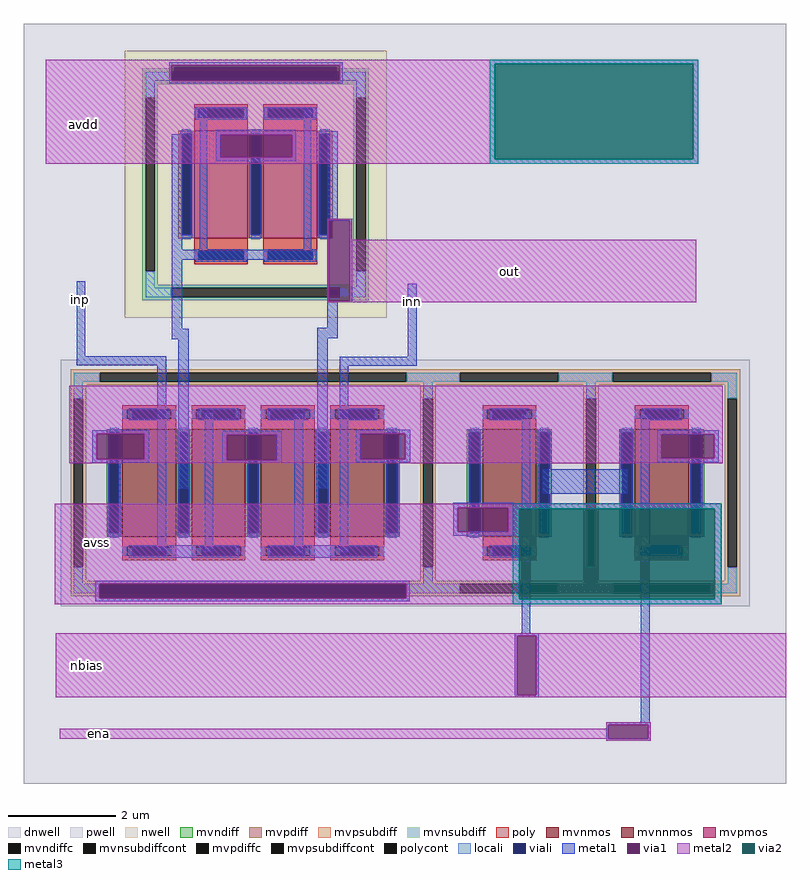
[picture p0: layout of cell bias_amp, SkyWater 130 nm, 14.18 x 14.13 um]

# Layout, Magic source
magic
tech sky130A
magscale 1 2
<< dnwell >>
rect 5361 2480 8196 5306
<< viali >>
rect 5921 5099 6523 5143
rect 5641 3169 6784 3223
<< metal1 >>
rect 5901 5150 6547 5161
rect 5901 5093 5910 5150
rect 6536 5093 6547 5150
rect 5901 5083 6547 5093
rect 5911 4465 5951 4895
rect 6016 4465 6044 4988
rect 6074 4893 6372 4910
rect 6074 4809 6092 4893
rect 6359 4809 6372 4893
rect 6074 4793 6372 4809
rect 6402 4465 6430 4986
rect 6489 4580 6529 4905
rect 6489 4574 6582 4580
rect 5911 4428 6015 4465
rect 6016 4428 6448 4465
rect 5557 4068 5590 4347
rect 5911 4171 5951 4428
rect 6489 4274 6495 4574
rect 6573 4274 6582 4574
rect 6489 4269 6582 4274
rect 6489 4175 6529 4269
rect 5911 4131 5975 4171
rect 5557 4035 5890 4068
rect 5615 3781 5827 3794
rect 5615 3686 5632 3781
rect 5809 3686 5827 3781
rect 5615 3673 5827 3686
rect 5857 3345 5890 4035
rect 5935 3576 5975 4131
rect 6452 4135 6529 4175
rect 5901 3320 6012 3366
rect 6033 3341 6066 3858
rect 6099 3777 6321 3792
rect 6099 3682 6115 3777
rect 6302 3682 6321 3777
rect 6099 3671 6321 3682
rect 6367 3337 6400 3854
rect 6452 3578 6492 4135
rect 6789 4066 6822 4339
rect 6535 4033 6822 4066
rect 6416 3320 6527 3366
rect 6535 3339 6568 4033
rect 6596 3780 6798 3796
rect 6596 3685 6613 3780
rect 6780 3685 6798 3780
rect 6596 3675 6798 3685
rect 6958 3506 7183 3524
rect 6958 3416 6974 3506
rect 7163 3416 7183 3506
rect 6958 3401 7183 3416
rect 5627 3223 6797 3233
rect 5627 3169 5641 3223
rect 6784 3169 6797 3223
rect 5627 3158 6797 3169
rect 7212 3038 7245 3852
rect 7291 3557 7606 3648
rect 7187 3030 7276 3038
rect 7187 2808 7195 3030
rect 7267 2808 7276 3030
rect 7187 2800 7276 2808
rect 7655 2708 7688 3851
rect 7716 3778 7946 3794
rect 7716 3690 7732 3778
rect 7929 3690 7946 3778
rect 7716 3674 7946 3690
rect 7526 2699 7692 2708
rect 7526 2647 7534 2699
rect 7683 2647 7692 2699
rect 7526 2639 7692 2647
<< via1 >>
rect 5910 5143 6536 5150
rect 5910 5099 5921 5143
rect 5921 5099 6523 5143
rect 6523 5099 6536 5143
rect 5910 5093 6536 5099
rect 6092 4809 6359 4893
rect 6495 4274 6573 4574
rect 5632 3686 5809 3781
rect 6115 3682 6302 3777
rect 6613 3685 6780 3780
rect 6974 3416 7163 3506
rect 5641 3169 6784 3223
rect 7195 2808 7267 3030
rect 7732 3690 7929 3778
rect 7534 2647 7683 2699
<< metal2 >>
rect 5443 5156 7868 5172
rect 5443 5150 7112 5156
rect 5443 5093 5910 5150
rect 6536 5093 7112 5150
rect 5443 4893 7112 5093
rect 5443 4809 6092 4893
rect 6359 4809 7112 4893
rect 5443 4802 7112 4809
rect 7851 4802 7868 5156
rect 5443 4785 7868 4802
rect 6489 4574 6581 4580
rect 6489 4274 6495 4574
rect 6573 4501 6581 4574
rect 6573 4274 7861 4501
rect 6489 4269 7861 4274
rect 5530 3781 7960 3959
rect 5530 3686 5632 3781
rect 5809 3780 7960 3781
rect 5809 3777 6613 3780
rect 5809 3686 6115 3777
rect 5530 3682 6115 3686
rect 6302 3685 6613 3777
rect 6780 3778 7960 3780
rect 6780 3690 7732 3778
rect 7929 3690 7960 3778
rect 6780 3685 7960 3690
rect 6302 3682 7960 3685
rect 5530 3671 7960 3682
rect 5476 3506 7956 3521
rect 5476 3416 6974 3506
rect 7163 3501 7956 3506
rect 7163 3416 7204 3501
rect 5476 3223 7204 3416
rect 5476 3169 5641 3223
rect 6784 3169 7204 3223
rect 5476 3165 7204 3169
rect 7930 3165 7956 3501
rect 5476 3146 7956 3165
rect 5480 3030 8196 3038
rect 5480 2808 7195 3030
rect 7267 2808 8196 3030
rect 5480 2800 8196 2808
rect 7526 2699 7692 2708
rect 7526 2684 7534 2699
rect 5495 2647 7534 2684
rect 7683 2647 7692 2699
rect 5495 2646 7692 2647
rect 7526 2639 7692 2646
<< via2 >>
rect 7112 4802 7851 5156
rect 7204 3165 7930 3501
<< metal3 >>
rect 7094 5156 7868 5172
rect 7094 4802 7112 5156
rect 7851 4802 7868 5156
rect 7094 4784 7868 4802
rect 7179 3501 7955 3522
rect 7179 3165 7204 3501
rect 7930 3165 7955 3501
rect 7179 3147 7955 3165
use sky130_fd_pr__nfet_05v0_nvt_F3TL5C  sky130_fd_pr__nfet_05v0_nvt_F3TL5C_0 paramcells
transform 1 0 7733 0 -1 3598
box -328 -458 328 458
use sky130_fd_pr__nfet_g5v0d10v5_56WC32  sky130_fd_pr__nfet_g5v0d10v5_56WC32_0 paramcells
transform 1 0 7167 0 -1 3598
box -368 -458 368 458
use sky130_fd_pr__nfet_g5v0d10v5_V5WCXY  sky130_fd_pr__nfet_g5v0d10v5_V5WCXY_0 paramcells
transform 1 0 6214 0 -1 3598
box -715 -458 715 458
use sky130_fd_pr__pfet_g5v0d10v5_QSDYAY  sky130_fd_pr__pfet_g5v0d10v5_QSDYAY_0 paramcells
transform 1 0 6223 0 -1 4708
box -487 -497 487 497
<< labels >>
flabel metal2 5443 4785 5725 5073 0 FreeSans 1600 0 0 0 avdd
port 1 nsew
flabel metal2 5480 2800 5707 3038 0 FreeSans 800 0 0 0 nbias
port 2 nsew
flabel metal2 5495 2646 5784 2684 0 FreeSans 320 0 0 0 ena
port 3 nsew
flabel metal2 5476 3233 5784 3521 0 FreeSans 1600 0 0 0 avss
port 4 nsew
flabel metal1 5557 4211 5590 4347 0 FreeSans 320 90 0 0 inp
port 5 nsew
flabel metal1 6789 4203 6822 4339 0 FreeSans 320 90 0 0 inn
port 6 nsew
flabel metal2 7052 4269 7282 4501 0 FreeSans 1600 0 0 0 out
port 7 nsew
<< end >>

# cell sky130_fd_pr__nfet_05v0_nvt_F3TL5C: kit device sky130_fd_pr__nfet_05v0_nvt, w 2 l 1 m 1 nf 1 diffcov 100 polycov 100 guard 1 glc 1 grc 1 gtc 1 gbc 1 tbcov 100 rlcov 100 topc 1 botc 1 poverlap 0 doverlap 1 lmin 0.90 wmin 0.42 compatible {sky130_fd_pr__nfet_01v8 sky130_fd_pr__nfet_01v8_lvt sky130_fd_bs_flash__special_sonosfet_star sky130_fd_pr__nfet_g5v0d10v5 sky130_fd_pr__nfet_05v0_nvt sky130_fd_pr__nfet_03v3_nvt} full_metal 1 viasrc 100 viadrn 100 viagate 75 viagb 0 viagr 0 viagl 0 viagt 0

# cell sky130_fd_pr__nfet_g5v0d10v5_56WC32: kit device sky130_fd_pr__nfet_g5v0d10v5, w 2 l 1 m 1 nf 1 diffcov 100 polycov 100 guard 1 glc 1 grc 1 gtc 1 gbc 1 tbcov 100 rlcov 100 topc 1 botc 1 poverlap 0 doverlap 1 lmin 0.50 wmin 0.42 compatible {sky130_fd_pr__nfet_01v8 sky130_fd_pr__nfet_01v8_lvt sky130_fd_bs_flash__special_sonosfet_star sky130_fd_pr__nfet_g5v0d10v5 sky130_fd_pr__nfet_05v0_nvt sky130_fd_pr__nfet_03v3_nvt} full_metal 1 viasrc 100 viadrn 100 viagate 75 viagb 0 viagr 0 viagl 0 viagt 0

# cell sky130_fd_pr__nfet_g5v0d10v5_V5WCXY: kit device sky130_fd_pr__nfet_g5v0d10v5, w 2 l 1 m 1 nf 4 diffcov 100 polycov 100 guard 1 glc 1 grc 1 gtc 1 gbc 1 tbcov 100 rlcov 100 topc 1 botc 1 poverlap 0 doverlap 1 lmin 0.50 wmin 0.42 compatible {sky130_fd_pr__nfet_01v8 sky130_fd_pr__nfet_01v8_lvt sky130_fd_bs_flash__special_sonosfet_star sky130_fd_pr__nfet_g5v0d10v5 sky130_fd_pr__nfet_05v0_nvt sky130_fd_pr__nfet_03v3_nvt} full_metal 1 viasrc 100 viadrn 100 viagate 75 viagb 0 viagr 0 viagl 0 viagt 0

# cell sky130_fd_pr__pfet_g5v0d10v5_QSDYAY: kit device sky130_fd_pr__pfet_g5v0d10v5, w 2 l 1 m 1 nf 2 diffcov 100 polycov 100 guard 1 glc 1 grc 1 gtc 1 gbc 1 tbcov 100 rlcov 100 topc 1 botc 1 poverlap 0 doverlap 1 lmin 0.50 wmin 0.42 compatible {sky130_fd_pr__pfet_01v8 sky130_fd_pr__pfet_01v8_lvt sky130_fd_pr__pfet_01v8_hvt sky130_fd_pr__pfet_g5v0d10v5} full_metal 1 viasrc 100 viadrn 100 viagate 100 viagb 0 viagr 0 viagl 0 viagt 0
